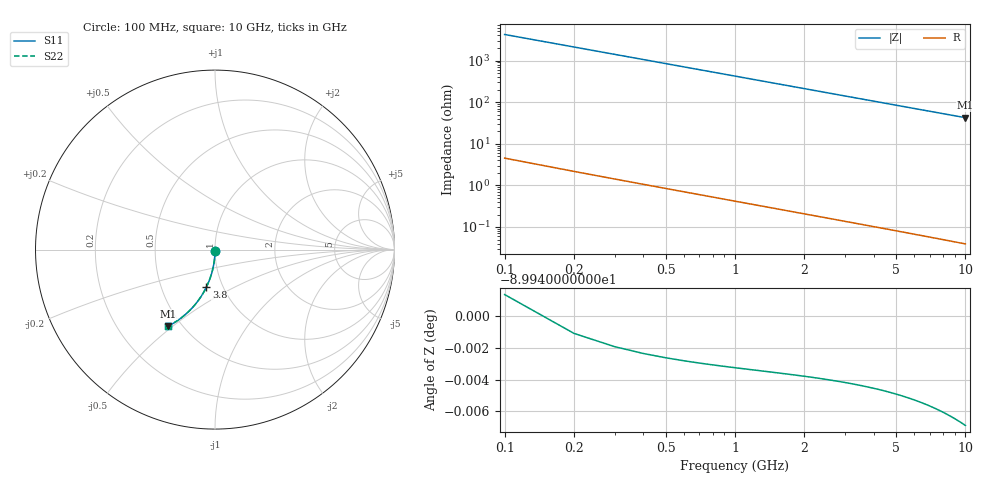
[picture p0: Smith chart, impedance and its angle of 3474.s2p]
# Hz S RI R 50.00
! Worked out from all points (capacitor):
!   100 points, 100 MHz to 10 GHz, reference 50 ohm
!   read as one part in shunt: C = 377 fF near 100 MHz
!   lowest |Z| = 42.4 ohm at 10 GHz (marker M1)
!   S11 on the Smith chart (normalised r, x): 100 MHz: 1.00, -0.01; 3.8 GHz: 0.83, -0.37; 10 GHz: 0.42, -0.48
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1e8  7.85e-05 -0.00579  0.9998 -0.00604  0.9998 -0.00604  7.85e-05 -0.00579
2e8  -3.15e-05 -0.0116  0.9997 -0.0121  0.9997 -0.0121  -3.15e-05 -0.0116
3e8  -0.000212 -0.0174  0.9995 -0.0181  0.9995 -0.0181  -0.000212 -0.0174
4e8  -0.000462 -0.0232  0.9993 -0.0242  0.9993 -0.0242  -0.000462 -0.0232
5e8  -0.000782 -0.0289  0.999 -0.0302  0.999 -0.0302  -0.000782 -0.0289
6e8  -0.00117 -0.0347  0.9986 -0.0362  0.9986 -0.0362  -0.00117 -0.0347
7e8  -0.00163 -0.0405  0.9981 -0.0422  0.9981 -0.0422  -0.00163 -0.0405
8e8  -0.00216 -0.0462  0.9976 -0.0482  0.9976 -0.0482  -0.00216 -0.0462
9e8  -0.00276 -0.052  0.997 -0.0542  0.997 -0.0542  -0.00276 -0.052
1.1e9  -0.00416 -0.0634  0.9956 -0.0662  0.9956 -0.0662  -0.00416 -0.0634
1.4e9  -0.00677 -0.0805  0.993 -0.084  0.993 -0.084  -0.00677 -0.0805
1.8e9  -0.0112 -0.1031  0.9885 -0.1076  0.9885 -0.1076  -0.0112 -0.1031
2.1e9  -0.0152 -0.1197  0.9845 -0.125  0.9845 -0.125  -0.0152 -0.1197
2.5e9  -0.0214 -0.1416  0.9783 -0.1479  0.9783 -0.1479  -0.0214 -0.1416
2.9e9  -0.0286 -0.1631  0.9711 -0.1703  0.9711 -0.1703  -0.0286 -0.1631
3.4e9  -0.039 -0.1891  0.9607 -0.1977  0.9607 -0.1977  -0.039 -0.1891
3.8e9  -0.0482 -0.2093  0.9515 -0.2188  0.9515 -0.2188  -0.0482 -0.2093
4.4e9  -0.0637 -0.2384  0.936 -0.2494  0.936 -0.2494  -0.0637 -0.2384
5.1e9  -0.0837 -0.2703  0.9159 -0.2831  0.9159 -0.2831  -0.0837 -0.2703
6.7e9  -0.1364 -0.3345  0.8632 -0.3513  0.8632 -0.3513  -0.1364 -0.3345
8.4e9  -0.1991 -0.3884  0.8004 -0.4095  0.8004 -0.4095  -0.1991 -0.3884
1e10  -0.2608 -0.4261  0.7386 -0.4513  0.7386 -0.4513  -0.2608 -0.4261
